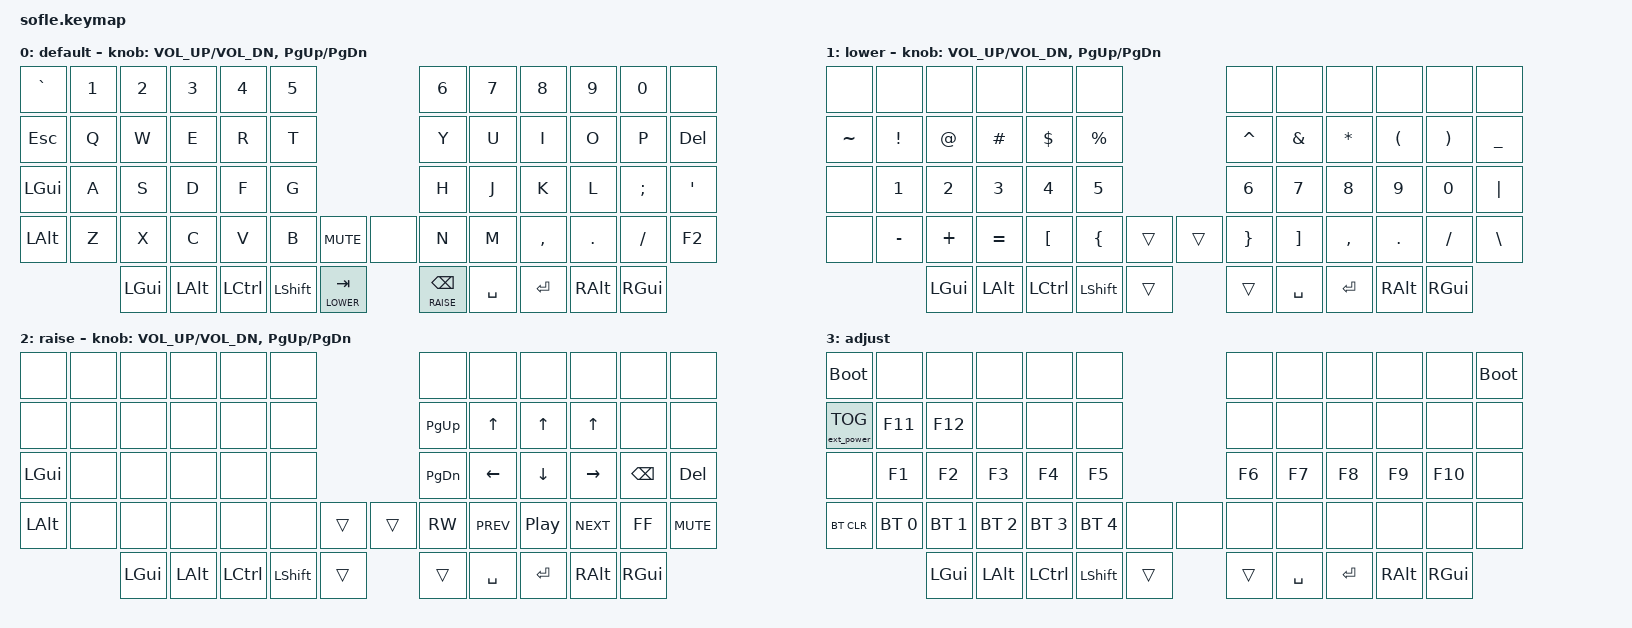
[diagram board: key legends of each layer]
/*
 * Copyright (c) 2020 The ZMK Contributors
 *
 * SPDX-License-Identifier: MIT
 */

#include <behaviors.dtsi>
#include <dt-bindings/zmk/keys.h>
#include <dt-bindings/zmk/bt.h>
#include <dt-bindings/zmk/rgb.h>
#include <dt-bindings/zmk/ext_power.h>

#define BASE 0
#define LOWER 1
#define RAISE 2
#define ADJUST 3

&mt {
    tapping-term-ms = <180>;
    flavor = "balanced";
};

/ {

   // Activate ADJUST layer by pressing raise and lower
    conditional_layers {
        compatible = "zmk,conditional-layers";
        adjust_layer {
            if-layers = <LOWER RAISE>;
            then-layer = <ADJUST>;
        };
    };

    keymap {
        compatible = "zmk,keymap";

        default_layer {
            display-name = "default";
// ------------------------------------------------------------------------------------------------------------
// |   `   |  1  |  2  |  3   |  4   |  5   |                  |  6   |  7    |  8    |  9   |   0   |       |
// |  ESC  |  Q  |  W  |  E   |  R   |  T   |                  |  Y   |  U    |  I    |  O   |   P   |  DEL  |
// |  LGUI |  A  |  S  |  D   |  F   |  G   |                  |  H   |  J    |  K    |  L   |   ;   |   '   |
// |  LALT |  Z  |  X  |  C   |  V   |  B   |  MUTE |  |       |  N   |  M    |  ,    |  .   |   /   |  F2   |
//               | LGUI| LALT | CTRL | LSHFT|LWR/TAB|  |RAI/BSP| SPC  | RET   |  RALT | RGUI |
            bindings = <
&kp GRAVE &kp N1 &kp N2   &kp N3   &kp N4    &kp N5                           &kp N6 &kp N7    &kp N8    &kp N9   &kp N0   &none
&kp ESC   &kp Q  &kp W    &kp E    &kp R     &kp T                            &kp Y  &kp U     &kp I     &kp O    &kp P    &kp DEL
&kp LGUI  &kp A  &kp S    &kp D    &kp F     &kp G                            &kp H  &kp J     &kp K     &kp L    &kp SEMI &kp SQT
&kp LALT  &kp Z  &kp X    &kp C    &kp V     &kp B      &kp C_MUTE &none      &kp N  &kp M     &kp COMMA &kp DOT  &kp FSLH &kp F2
                 &kp LGUI &kp LALT &kp LCTRL &kp LSHFT &lt LOWER TAB   &lt RAISE BSPC  &kp SPACE  &kp RET &kp RALT  &kp RGUI
            >;

            sensor-bindings = <&inc_dec_kp C_VOL_UP C_VOL_DN &inc_dec_kp PG_UP PG_DN>;
        };

        lower_layer {
            display-name = "lower";
// TODO: Some binds are waiting for shifted keycode support.
// ------------------------------------------------------------------------------------------------------------
// |       |     |     |      |      |      |                   |      |       |       |      |      |     |
// |   ~   |  !  |  @  |  #   |  $   |  %   |                   |  ^   |  &    |  *    |  (   |  )   |  _  |
// |       |  1  |  2  |  3   |  4   |  5   |                   |  6   |  7    |  8    |  9   |  0   |  |  |
// |       |  -  |  +  |  =   |  [   |  {   |        |  |       |  }   |  ]    |  ,    |  .   |  /   |  \  |
//               | LGUI| LALT | LCTRL| LSHFT|  trans |  |  BSPC |  trans  |  NONE  |   RALT    |   RGUI   |            
            bindings = <
&none     &none     &none   &none       &none     &none                     &none     &none      &none     &none     &none     &none
&kp TILDE &kp EXCL  &kp AT  &kp POUND   &kp DLLR  &kp PRCNT                 &kp CARET &kp AMPS   &kp ASTRK &kp LPAR  &kp RPAR  &kp UNDER
&none     &kp N1    &kp N2  &kp N3      &kp N4    &kp N5                    &kp N6    &kp N7     &kp N8    &kp N9    &kp N0    &kp PIPE
&none     &kp MINUS &kp PLUS  &kp EQUAL &kp LBKT  &kp LBRC  &trans &trans   &kp RBRC  &kp RBKT   &kp COMMA &kp DOT   &kp FSLH  &kp BSLH
                    &kp LGUI  &kp LALT   &kp LCTRL &kp LSHFT  &trans &trans &kp SPACE   &kp RET  &kp RALT  &kp RGUI
            >;        
 
            sensor-bindings = <&inc_dec_kp C_VOL_UP C_VOL_DN &inc_dec_kp PG_UP PG_DN>;
        };

        raise_layer {
            display-name = "raise";
// ------------------------------------------------------------------------------------------------------------
// |       |      |      |       |       |      |                |      |      |       |      |       |       |
// |       |      |      |       |       |      |                | PGUP |      |   ^   |      |       |       |
// |       |      |      |       |       |      |                | PGDN |   <- |   v   |  ->  | BKSPC |  DEL  |
// |       |      |      |       |       |      |      |  |      |      |      |       |      |       |       |
//                |      |       |       |      |      |  |      |      |      |       |      |
            bindings = <
&none      &none        &none        &none        &none       &none        &none     &none     &none    &none     &none      &none
&none      &none        &none        &none        &none       &none        &kp PG_UP &kp UP    &kp UP   &kp UP    &none      &none
&kp LGUI   &none        &none        &none        &none       &none        &kp PG_DN &kp LEFT  &kp DOWN &kp RIGHT &kp BSPC  &kp DEL
&kp LALT   &none        &none        &none        &none       &none  &trans &trans   &kp C_RW  &kp C_PREV  &kp C_PP   &kp C_NEXT  &kp C_FF &kp C_MUTE
                    &kp LGUI  &kp LALT   &kp LCTRL &kp LSHFT  &trans &trans &kp SPACE   &kp RET  &kp RALT &kp RGUI
            >;

            sensor-bindings = <&inc_dec_kp C_VOL_UP C_VOL_DN &inc_dec_kp PG_UP PG_DN>;
        };

        adjust_layer {
// ----------------------------------------------------------------------------------------------------------------------------
// | BOOT   |  BT1    |  BT2    |   BT3   |   BT4   |   BT5   |                  |      |      |       |      |       | BOOT   |
// | EXTPWR | RGB_HUD | RGB_HUI | RGB_SAD | RGB_SAI | RGB_EFF |                  |      |      |       |      |       |       |
// |        | RGB_BRD | RGB_BRI |         |         |         |                  |      |      |       |      |       |       |
// |        |         |         |         |         |         | RGB_TOG | |      |      |      |       |      |       |       |
//                    |         |         |         |         |         | |      |      |      |       |      |
            display-name = "adjust";
            bindings = <
&bootloader  &none &none &none &none &none                                 &none &none &none &none &none &bootloader
&ext_power EP_TOG   &kp F11         &kp F12         &none           &none           &none                                        &none &none &none &none &none &none
&none        &kp F1          &kp F2          &kp F3          &kp F4          &kp F5                                   &kp F6 &kp F7 &kp F8 &kp F9 &kp F10 &none
&bt BT_CLR        &bt BT_SEL 0    &bt BT_SEL 1    &bt BT_SEL 2    &bt BT_SEL 3    &bt BT_SEL 4           &none &none  &none &none &none &none &none &none
                                  &kp LGUI           &kp LALT           &kp LCTRL           &kp LSHFT            &trans           &trans  &kp SPACE &kp RET &kp RALT &kp RGUI
            >;
        };

    };
};
